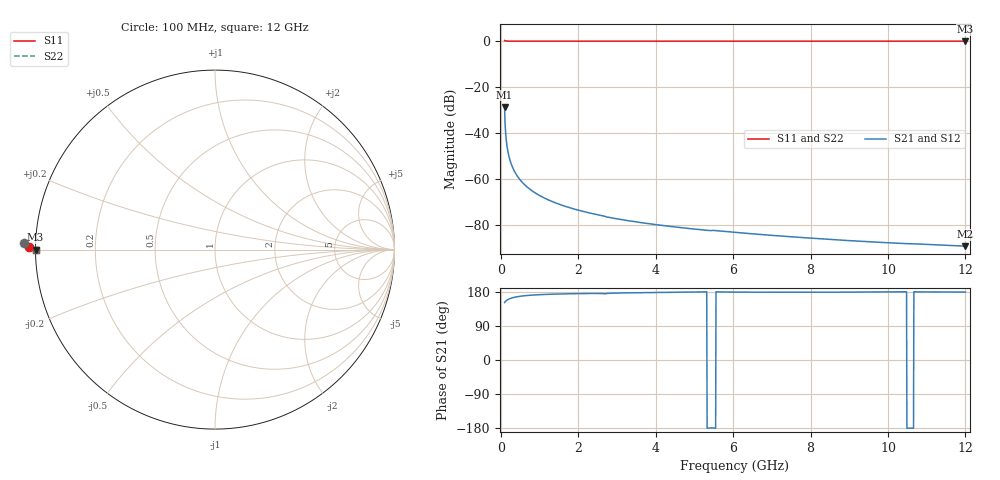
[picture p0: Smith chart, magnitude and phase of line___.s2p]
! S2P File: Measurements: S-parameters
# Hz S RI R 50
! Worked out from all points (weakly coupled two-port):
!   1191 points, 100 MHz to 12 GHz, reference 50 ohm
!   highest |S21| = -28.70 dB at 100 MHz (marker M1); lowest = -89.3 dB at 12 GHz (marker M2)
!   lowest |S11| = 0.0 dB at 12 GHz (marker M3)
!   |S11| at or under -10 dB: nowhere
!   |S22| runs from 0.0 to 0.5 dB; largest |S21 - S12| = 7.8e-18
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1e8  -1.036 0.0122  -0.0323 0.0175  -0.0323 0.0175  -1.064 0.0345
1.3e8  -1.009 0.00263  -0.00831 0.00378  -0.00831 0.00378  -1.017 0.00754
1.6e8  -1.005 0.00137  -0.0049 0.00199  -0.0049 0.00199  -1.01 0.00398
1.7e8  -1.005 0.00117  -0.00432 0.0017  -0.00432 0.0017  -1.009 0.00339
2e8  -1.003 0.000791  -0.00321 0.00115  -0.00321 0.00115  -1.006 0.00231
2.3e8  -1.003 0.000581  -0.00257 0.000853  -0.00257 0.000853  -1.005 0.0017
2.8e8  -1.002 0.000388  -0.00193 0.000573  -0.00193 0.000573  -1.004 0.00115
3.4e8  -1.002 0.000266  -0.00149 0.000395  -0.00149 0.000395  -1.003 0.00079
4.2e8  -1.001 0.00018  -0.00115 0.000268  -0.00115 0.000268  -1.002 0.000535
5.1e8  -1.001 0.000126  -0.000912 0.000189  -0.000912 0.000189  -1.002 0.000377
6.3e8  -1.001 8.6e-05  -0.000717 0.00013  -0.000717 0.00013  -1.001 0.000259
7.6e8  -1.001 6.14e-05  -0.000582 9.31e-05  -0.000582 9.31e-05  -1.001 0.000186
9.2e8  -1 4.36e-05  -0.000472 6.66e-05  -0.000472 6.66e-05  -1.001 0.000133
1.1e9  -1 3.17e-05  -0.00039 4.88e-05  -0.00039 4.88e-05  -1.001 9.76e-05
1.54e9  -1 1.72e-05  -0.000273 2.72e-05  -0.000273 2.72e-05  -1.001 5.45e-05
2.09e9  -1 9.69e-06  -0.000199 1.63e-05  -0.000199 1.63e-05  -1 3.26e-05
2.89e9  -1 4.93e-06  -0.00014 8.83e-06  -0.00014 8.83e-06  -1 1.77e-05
4.07e9  -1 2.19e-06  -9.92e-05 3.2e-06  -9.92e-05 3.2e-06  -1 6.43e-06
6.05e9  -1 7.32e-07  -6.84e-05 1.03e-06  -6.84e-05 1.03e-06  -1 2.09e-06
8.04e9  -1 6.48e-07  -5.1e-05 1.31e-06  -5.1e-05 1.31e-06  -1 2.63e-06
1.002e10  -1 2.69e-07  -4.05e-05 3.73e-07  -4.05e-05 3.73e-07  -1 7.58e-07
1.2e10  -1 2.9e-07  -3.42e-05 4.2e-07  -3.42e-05 4.2e-07  -1 8.5e-07
